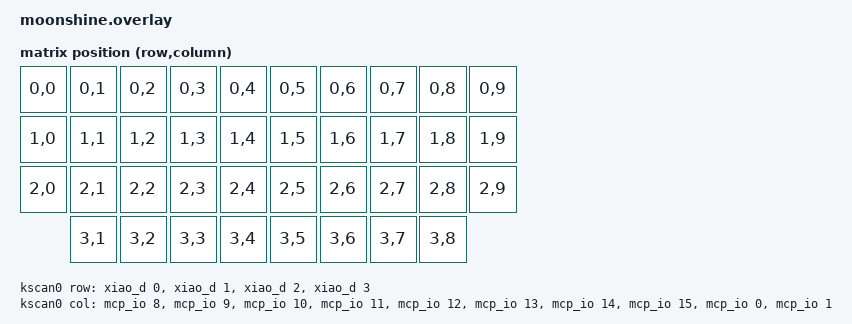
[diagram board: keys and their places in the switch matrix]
#include <dt-bindings/zmk/matrix_transform.h>

/ {
    chosen {
        zmk,kscan = &kscan0;
    };

    kscan0: kscan_0 {
        compatible = "zmk,kscan-gpio-matrix";
        label = "KSCAN";

        diode-direction = "col2row";

        col-gpios
            = <&mcp_io 8 GPIO_ACTIVE_HIGH>
            , <&mcp_io 9 GPIO_ACTIVE_HIGH>
            , <&mcp_io 10 GPIO_ACTIVE_HIGH>
            , <&mcp_io 11 GPIO_ACTIVE_HIGH>
            , <&mcp_io 12 GPIO_ACTIVE_HIGH>
            , <&mcp_io 13 GPIO_ACTIVE_HIGH>
            , <&mcp_io 14 GPIO_ACTIVE_HIGH>
            , <&mcp_io 15 GPIO_ACTIVE_HIGH>
            , <&mcp_io 0 GPIO_ACTIVE_HIGH>
            , <&mcp_io 1 GPIO_ACTIVE_HIGH>
            ;

        row-gpios
            = <&xiao_d 0 (GPIO_ACTIVE_HIGH | GPIO_PULL_DOWN)>
            , <&xiao_d 1 (GPIO_ACTIVE_HIGH | GPIO_PULL_DOWN)>
            , <&xiao_d 2 (GPIO_ACTIVE_HIGH | GPIO_PULL_DOWN)>
            , <&xiao_d 3 (GPIO_ACTIVE_HIGH | GPIO_PULL_DOWN)>
            ;
    };

    default_transform: matrix_transform {
		compatible = "zmk,matrix-transform";
		columns = <10>;
		rows = <4>;

		map = <
            RC(0,0) RC(0,1) RC(0,2) RC(0,3) RC(0,4)     RC(0,5) RC(0,6) RC(0,7) RC(0,8)  RC(0,9)
            RC(1,0) RC(1,1) RC(1,2) RC(1,3) RC(1,4)     RC(1,5) RC(1,6) RC(1,7) RC(1,8)  RC(1,9)
            RC(2,0) RC(2,1) RC(2,2) RC(2,3) RC(2,4)     RC(2,5) RC(2,6) RC(2,7) RC(2,8)  RC(2,9)        
                    RC(3,1) RC(3,2) RC(3,3) RC(3,4)     RC(3,5) RC(3,6) RC(3,7) RC(3,8)     
		>;
	};
};

&xiao_i2c {
	status = "okay";

	mcp_io: mcp23017@20 {
		compatible = "microchip,mcp23017";
		status = "okay";
		reg = <0x20>;
		label = "MCP23017";
		gpio-controller;
		#gpio-cells = <2>;
		ngpios = <16>;
	};
};

nice_view_spi: &xiao_spi { 
    cs-gpios = <&xiao_d 7 GPIO_ACTIVE_HIGH>; 
    };

&xiao_serial { status = "disabled"; };

